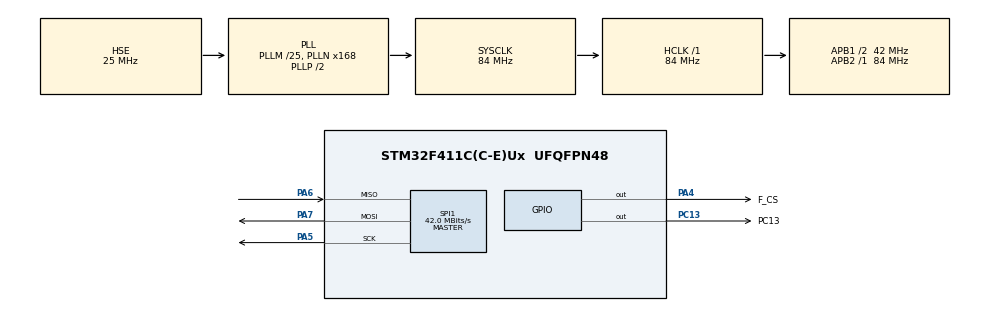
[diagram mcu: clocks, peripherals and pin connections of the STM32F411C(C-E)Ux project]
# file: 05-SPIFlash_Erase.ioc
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Mcu.Family=STM32F4
Mcu.Name=STM32F411C(C-E)Ux
Mcu.Package=UFQFPN48
NVIC.PriorityGroup=NVIC_PRIORITYGROUP_4
PA13.Mode=Serial_Wire
PA13.Signal=SYS_JTMS-SWDIO
PA14.Mode=Serial_Wire
PA14.Signal=SYS_JTCK-SWCLK
PA4.GPIO_Label=F_CS
PA4.Signal=GPIO_Output
PA5.Mode=Full_Duplex_Master
PA5.Signal=SPI1_SCK
PA6.Mode=Full_Duplex_Master
PA6.Signal=SPI1_MISO
PA7.Mode=Full_Duplex_Master
PA7.Signal=SPI1_MOSI
PC13-ANTI_TAMP.GPIO_Label=PC13
PC13-ANTI_TAMP.PinState=GPIO_PIN_SET
PC13-ANTI_TAMP.Signal=GPIO_Output
PH0\ -\ OSC_IN.Mode=HSE-External-Oscillator
PH0\ -\ OSC_IN.Signal=RCC_OSC_IN
PH1\ -\ OSC_OUT.Mode=HSE-External-Oscillator
PH1\ -\ OSC_OUT.Signal=RCC_OSC_OUT
ProjectManager.HeapSize=0x200
ProjectManager.StackSize=0x400
ProjectManager.TargetToolchain=MDK-ARM V5.27
RCC.48MHZClocksFreq_Value=42000000
RCC.AHBFreq_Value=84000000
RCC.APB1CLKDivider=RCC_HCLK_DIV2
RCC.APB1Freq_Value=42000000
RCC.APB1TimFreq_Value=84000000
RCC.APB2Freq_Value=84000000
RCC.APB2TimFreq_Value=84000000
RCC.CortexFreq_Value=84000000
RCC.HCLKFreq_Value=84000000
RCC.HSE_VALUE=25000000
RCC.HSI_VALUE=16000000
RCC.LSE_VALUE=32768
RCC.PLLM=25
RCC.PLLN=168
RCC.PLLSourceVirtual=RCC_PLLSOURCE_HSE
RCC.SYSCLKFreq_VALUE=84000000
RCC.SYSCLKSource=RCC_SYSCLKSOURCE_PLLCLK
RCC.VCOOutputFreq_Value=168000000
SPI1.CalculateBaudRate=42.0 MBits/s
SPI1.Direction=SPI_DIRECTION_2LINES
SPI1.Mode=SPI_MODE_MASTER
SPI1.VirtualType=VM_MASTER
board=custom

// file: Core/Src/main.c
/* USER CODE BEGIN Header */
/**
  ******************************************************************************
  * @file           : main.c
  * @brief          : Main program body
  ******************************************************************************
  * @attention
  *
  * Copyright (c) 2026 STMicroelectronics.
  * All rights reserved.
  *
  * This software is licensed under terms that can be found in the LICENSE file
  * in the root directory of this software component.
  * If no LICENSE file comes with this software, it is provided AS-IS.
  *
  ******************************************************************************
  */
/* USER CODE END Header */
#include "main.h"
#include "spi.h"
#include "gpio.h"

/* USER CODE BEGIN Includes */
#include "w25qxx.h"
/* USER CODE END Includes */

void SystemClock_Config(void);

/* USER CODE BEGIN 0 */
static void LED_Blink(uint32_t Hdelay,uint32_t Ldelay)
{
	HAL_GPIO_WritePin(PC13_GPIO_Port,PC13_Pin,GPIO_PIN_RESET);
	HAL_Delay(Hdelay - 1);
	HAL_GPIO_WritePin(PC13_GPIO_Port,PC13_Pin,GPIO_PIN_SET);
	HAL_Delay(Ldelay-1);
}
/* USER CODE END 0 */

int main(void)
{

  /* USER CODE BEGIN 1 */
  uint8_t result;
  /* USER CODE END 1 */

  /* MCU Configuration--------------------------------------------------------*/

  /* Reset of all peripherals, Initializes the Flash interface and the Systick. */
  HAL_Init();

  /* Configure the system clock */
  SystemClock_Config();

  /* Initialize all configured peripherals */
  MX_GPIO_Init();
  MX_SPI1_Init();
  /* USER CODE BEGIN 2 */
  W25Qx_Init();
  if((W25Qx_Para.FLASH_Id & 0xff) < x25Q80 || (W25Qx_Para.FLASH_Id & 0xff) > x25Q128)
  {
    // SPI Flash ID Error
    while(1)
    {
      LED_Blink(50,50);
    }
  }
  /* USER CODE END 2 */

  /* Infinite loop */
  while (1)
  {

    /* USER CODE BEGIN 3 */
    // Start Erase ...
    LED_Blink(300,80);
    LED_Blink(300,80);
    HAL_GPIO_WritePin(PC13_GPIO_Port,PC13_Pin,GPIO_PIN_RESET);
    result = W25Qx_Erase_Chip();

    while(1)
    {
      // Erase Done
      if(result == W25Qx_OK)
        LED_Blink(50,500);
      else
      // Erase Error
        LED_Blink(500,500);
    }
  }
  /* USER CODE END 3 */
}

void SystemClock_Config(void)
{
  RCC_OscInitTypeDef RCC_OscInitStruct = {0};
  RCC_ClkInitTypeDef RCC_ClkInitStruct = {0};

  /** Configure the main internal regulator output voltage
  */
  __HAL_RCC_PWR_CLK_ENABLE();
  __HAL_PWR_VOLTAGESCALING_CONFIG(PWR_REGULATOR_VOLTAGE_SCALE1);

  /** Initializes the RCC Oscillators according to the specified parameters
  * in the RCC_OscInitTypeDef structure.
  */
  RCC_OscInitStruct.OscillatorType = RCC_OSCILLATORTYPE_HSE;
  RCC_OscInitStruct.HSEState = RCC_HSE_ON;
  RCC_OscInitStruct.PLL.PLLState = RCC_PLL_ON;
  RCC_OscInitStruct.PLL.PLLSource = RCC_PLLSOURCE_HSE;
  RCC_OscInitStruct.PLL.PLLM = 25;
  RCC_OscInitStruct.PLL.PLLN = 168;
  RCC_OscInitStruct.PLL.PLLP = RCC_PLLP_DIV2;
  RCC_OscInitStruct.PLL.PLLQ = 4;
  if (HAL_RCC_OscConfig(&RCC_OscInitStruct) != HAL_OK)
  {
    Error_Handler();
  }

  /** Initializes the CPU, AHB and APB buses clocks
  */
  RCC_ClkInitStruct.ClockType = RCC_CLOCKTYPE_HCLK|RCC_CLOCKTYPE_SYSCLK
                              |RCC_CLOCKTYPE_PCLK1|RCC_CLOCKTYPE_PCLK2;
  RCC_ClkInitStruct.SYSCLKSource = RCC_SYSCLKSOURCE_PLLCLK;
  RCC_ClkInitStruct.AHBCLKDivider = RCC_SYSCLK_DIV1;
  RCC_ClkInitStruct.APB1CLKDivider = RCC_HCLK_DIV2;
  RCC_ClkInitStruct.APB2CLKDivider = RCC_HCLK_DIV1;

  if (HAL_RCC_ClockConfig(&RCC_ClkInitStruct, FLASH_LATENCY_2) != HAL_OK)
  {
    Error_Handler();
  }
}

void Error_Handler(void)
{
  __disable_irq();
  while (1)
  {
  }
}
